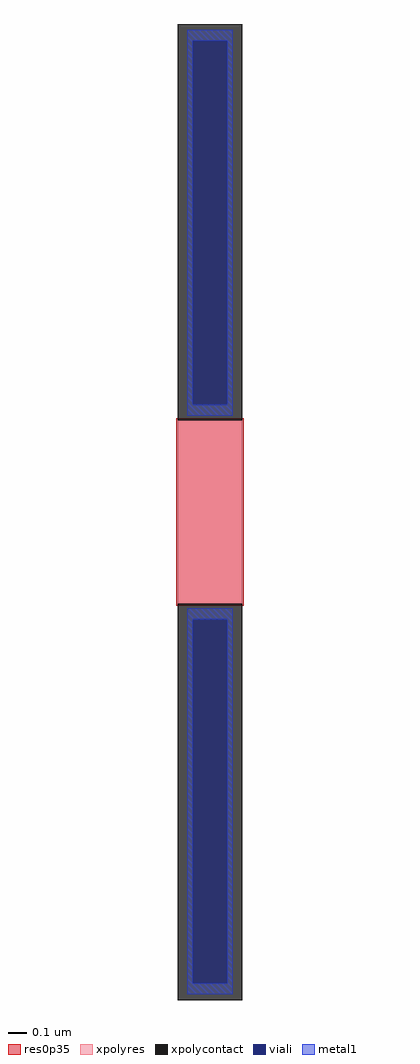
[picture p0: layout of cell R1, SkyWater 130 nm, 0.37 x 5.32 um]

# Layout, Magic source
magic
tech sky130A
magscale 1 2
<< xpolycontact >>
rect -35 100 35 532
rect -35 -532 35 -100
<< xpolyres >>
rect -35 -100 35 100
<< viali >>
rect -19 117 19 514
rect -19 -514 19 -117
<< metal1 >>
rect -25 514 25 526
rect -25 117 -19 514
rect 19 117 25 514
rect -25 105 25 117
rect -25 -117 25 -105
rect -25 -514 -19 -117
rect 19 -514 25 -117
rect -25 -526 25 -514
<< res0p35 >>
rect -37 -102 37 102
<< end >>
